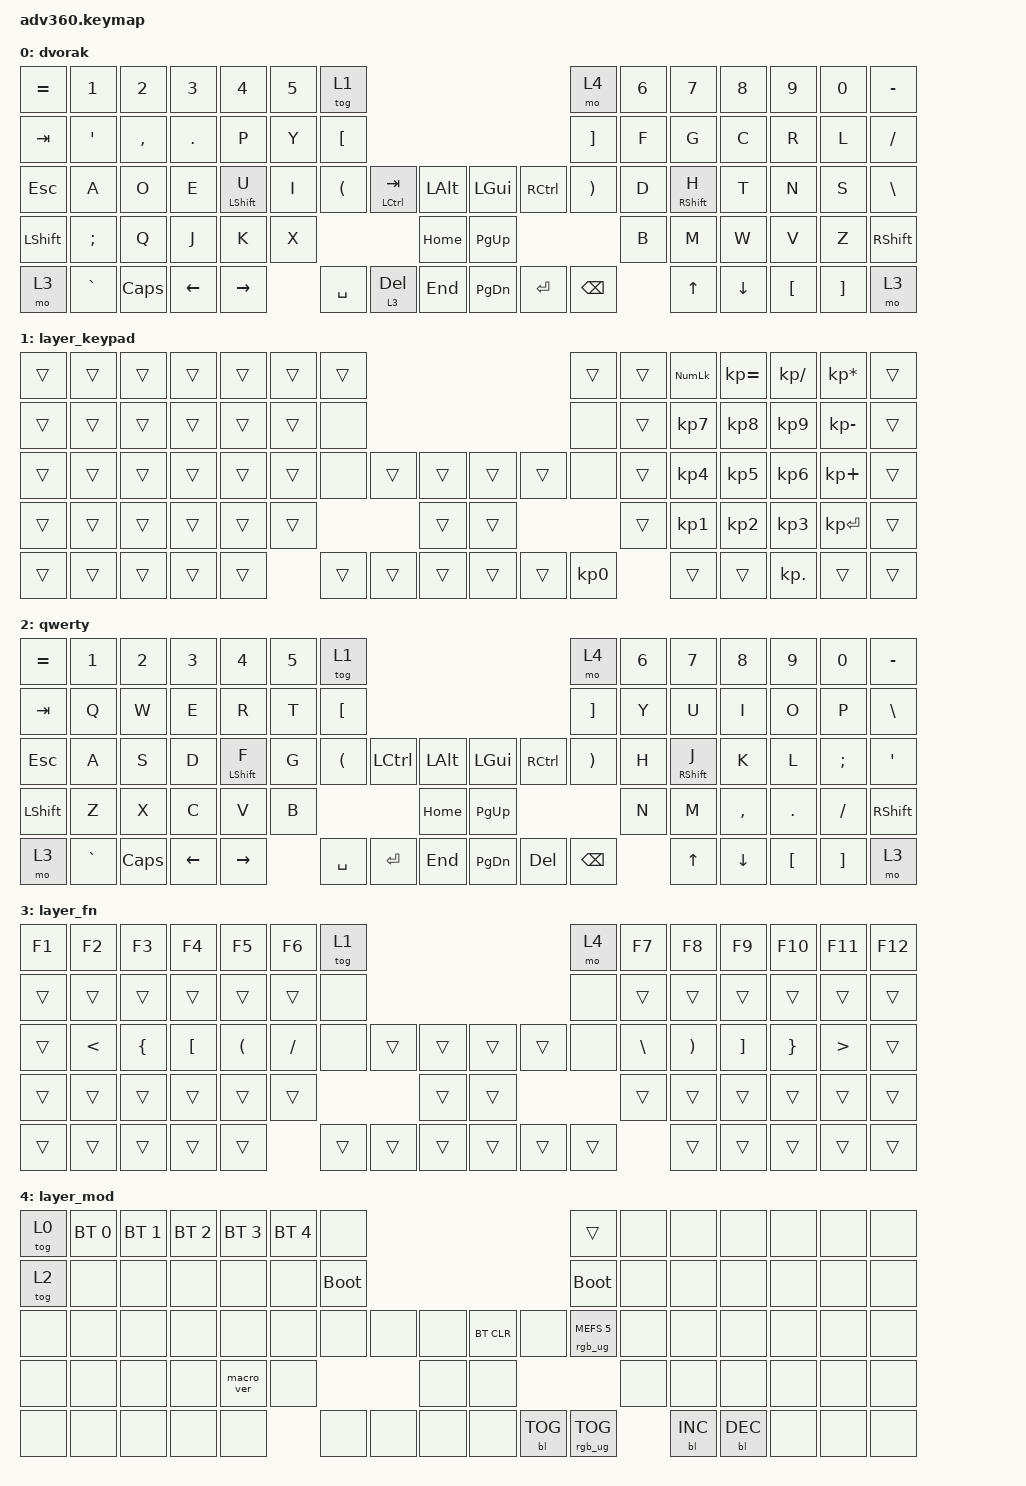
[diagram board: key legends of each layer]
/*
 * Copyright (c) 2020 The ZMK Contributors
 *
 * SPDX-License-Identifier: MIT
 */
/* THIS FILE WAS GENERATED!
 *
 * This file was generated automatically. You may or may not want to
 * edit it directly.
 */

#include <behaviors.dtsi>
#include <dt-bindings/zmk/backlight.h>
#include <dt-bindings/zmk/bt.h>
#include <dt-bindings/zmk/keys.h>
#include <dt-bindings/zmk/rgb.h>

&mt {
    tapping-term-ms = <170>;
    quick-tap-ms = <100>;
    flavor = "hold-preferred";
};

&lt {
    tapping-term-ms = <170>;
    quick-tap-ms = <100>;
    flavor = "tap-preferred";
};

/ {
    behaviors {
        #include "macros.dtsi"
    #include "version.dtsi"

        hm: homerow_mods {
            compatible = "zmk,behavior-hold-tap";
            label = "HOMEROW_MODS";
            #binding-cells = <2>;
            tapping-term-ms = <200>;
            quick_tap_ms = <175>;
            flavor = "tap-preferred";
            bindings = <&kp>, <&kp>;
        };

        hml: hml {
            compatible = "zmk,behavior-hold-tap";
            label = "HML";
            bindings = <&kp>, <&kp>;

            #binding-cells = <2>;
            flavor = "tap-preferred";
            tapping-term-ms = <140>;
            quick-tap-ms = <75>;
            hold-trigger-on-release;
            hold-trigger-key-positions = <7 8 9 10 11 12 13 21 22 23 24 25 26 27 38 39 40 41 42 43 44 45 54 55 56 57 58 59 68 69 70 71 72 73 74 75 37 38 53 67 52 36 35 66 65>;
        };

        hmr: hmr {
            compatible = "zmk,behavior-hold-tap";
            label = "HMR";
            bindings = <&kp>, <&kp>;

            #binding-cells = <2>;
            flavor = "tap-preferred";
            tapping-term-ms = <140>;
            quick-tap-ms = <75>;
            hold-trigger-key-positions = <0 1 2 3 4 5 6 14 15 16 17 18 19 20 28 29 30 31 32 33 34 35 36 46 47 48 49 50 51 52 60 61 62 63 64 65 66 67 36 37 38 53 68 69 70>;
            hold-trigger-on-release;
        };
    };

    combos {
        compatible = "zmk,combos";

        Capsword {
            bindings = <&caps_word>;
            key-positions = <32 41>;
            layers = <0 2>;
        };
    };

    keymap {
        compatible = "zmk,keymap";

        dvorak {
            bindings = <
&kp EQUAL   &kp NUMBER_1      &kp NUMBER_2  &kp NUMBER_3  &kp NUMBER_4       &kp NUMBER_5  &tog 1                                                                                         &mo 4                  &kp NUMBER_6  &kp NUMBER_7        &kp NUMBER_8  &kp NUMBER_9  &kp NUMBER_0  &kp MINUS
&kp TAB     &kp SINGLE_QUOTE  &kp COMMA     &kp PERIOD    &kp P              &kp Y         &kp LEFT_BRACKET                                                                               &kp RIGHT_BRACKET      &kp F         &kp G               &kp C         &kp R         &kp L         &kp FSLH
&kp ESCAPE  &kp A             &kp O         &kp E         &hml LEFT_SHIFT U  &kp I         &kp LEFT_PARENTHESIS  &mt LEFT_CONTROL TAB  &kp LEFT_ALT      &kp LEFT_GUI  &kp RIGHT_CONTROL  &kp RIGHT_PARENTHESIS  &kp D         &hmr RIGHT_SHIFT H  &kp T         &kp N         &kp S         &kp BSLH
&kp LSHFT   &kp SEMICOLON     &kp Q         &kp J         &kp K              &kp X                                                     &kp HOME          &kp PG_UP                                               &kp B         &kp M               &kp W         &kp V         &kp Z         &kp RSHFT
&mo 3       &kp GRAVE         &kp CAPSLOCK  &kp LEFT      &kp RIGHT                        &kp SPACE             &lt 3 DELETE          &kp END           &kp PG_DN     &kp ENTER          &kp BACKSPACE                        &kp UP              &kp DOWN      &kp LBKT      &kp RBKT      &mo 3
            >;
        };

        layer_keypad {
            bindings = <
&trans  &trans  &trans  &trans  &trans  &trans  &trans                                      &trans     &trans  &kp KP_NUM  &kp KP_EQUAL  &kp KP_DIVIDE  &kp KP_MULTIPLY  &trans
&trans  &trans  &trans  &trans  &trans  &trans  &none                                       &none      &trans  &kp KP_N7   &kp KP_N8     &kp KP_N9      &kp KP_MINUS     &trans
&trans  &trans  &trans  &trans  &trans  &trans  &none   &trans  &trans      &trans  &trans  &none      &trans  &kp KP_N4   &kp KP_N5     &kp KP_N6      &kp KP_PLUS      &trans
&trans  &trans  &trans  &trans  &trans  &trans                  &trans      &trans                     &trans  &kp KP_N1   &kp KP_N2     &kp KP_N3      &kp KP_ENTER     &trans
&trans  &trans  &trans  &trans  &trans          &trans  &trans  &trans      &trans  &trans  &kp KP_N0          &trans      &trans        &kp KP_DOT     &trans           &trans
            >;
        };

        qwerty {
            bindings = <
&kp EQUAL  &kp N1     &kp N2    &kp N3    &kp N4             &kp N5  &tog 1                                                                &mo 4                  &kp N6  &kp N7              &kp N8     &kp N9    &kp N0    &kp MINUS
&kp TAB    &kp Q      &kp W     &kp E     &kp R              &kp T   &kp LEFT_BRACKET                                                      &kp RIGHT_BRACKET      &kp Y   &kp U               &kp I      &kp O     &kp P     &kp BSLH
&kp ESC    &kp A      &kp S     &kp D     &hml LEFT_SHIFT F  &kp G   &kp LEFT_PARENTHESIS  &kp LCTRL  &kp LALT      &kp LGUI   &kp RCTRL   &kp RIGHT_PARENTHESIS  &kp H   &hmr RIGHT_SHIFT J  &kp K      &kp L     &kp SEMI  &kp SQT
&kp LSHFT  &kp Z      &kp X     &kp C     &kp V              &kp B                                    &kp HOME      &kp PG_UP                                     &kp N   &kp M               &kp COMMA  &kp DOT   &kp FSLH  &kp RSHFT
&mo 3      &kp GRAVE  &kp CAPS  &kp LEFT  &kp RIGHT                  &kp SPACE             &kp ENTER  &kp END       &kp PG_DN  &kp DELETE  &kp BACKSPACE                  &kp UP              &kp DOWN   &kp LBKT  &kp RBKT  &mo 3
            >;
        };

        layer_fn {
            bindings = <
&kp F1  &kp F2         &kp F3          &kp F4            &kp F5                &kp F6     &tog 1                                      &mo 4   &kp F7         &kp F8                 &kp F9             &kp F10          &kp F11           &kp F12
&trans  &trans         &trans          &trans            &trans                &trans     &none                                       &none   &trans         &trans                 &trans             &trans           &trans            &trans
&trans  &kp LESS_THAN  &kp LEFT_BRACE  &kp LEFT_BRACKET  &kp LEFT_PARENTHESIS  &kp SLASH  &none   &trans  &trans      &trans  &trans  &none   &kp BACKSLASH  &kp RIGHT_PARENTHESIS  &kp RIGHT_BRACKET  &kp RIGHT_BRACE  &kp GREATER_THAN  &trans
&trans  &trans         &trans          &trans            &trans                &trans                     &trans      &trans                  &trans         &trans                 &trans             &trans           &trans            &trans
&trans  &trans         &trans          &trans            &trans                           &trans  &trans  &trans      &trans  &trans  &trans                 &trans                 &trans             &trans           &trans            &trans
            >;
        };

        layer_mod {
            bindings = <
&tog 0  &bt BT_SEL 0  &bt BT_SEL 1  &bt BT_SEL 2  &bt BT_SEL 3  &bt BT_SEL 4  &none                                                  &trans                  &none  &none       &none       &none  &none  &none
&tog 2  &none         &none         &none         &none         &none         &bootloader                                            &bootloader             &none  &none       &none       &none  &none  &none
&none   &none         &none         &none         &none         &none         &none        &none  &none      &bt BT_CLR  &none       &rgb_ug RGB_MEFS_CMD 5  &none  &none       &none       &none  &none  &none
&none   &none         &none         &none         &macro_ver    &none                             &none      &none                                           &none  &none       &none       &none  &none  &none
&none   &none         &none         &none         &none                       &none        &none  &none      &none       &bl BL_TOG  &rgb_ug RGB_TOG                &bl BL_INC  &bl BL_DEC  &none  &none  &none
            >;
        };
    };
};
